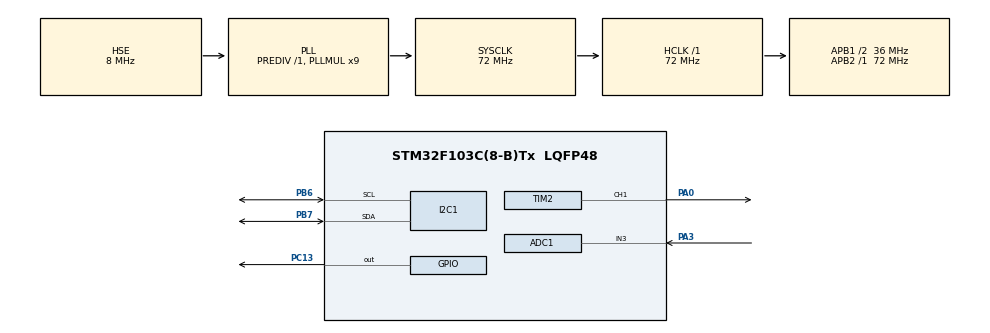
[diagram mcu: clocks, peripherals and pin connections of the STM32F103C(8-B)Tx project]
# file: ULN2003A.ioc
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ADC1.Channel-0\#ChannelRegularConversion=ADC_CHANNEL_3
ADC1.NbrOfConversionFlag=1
ADC1.Rank-0\#ChannelRegularConversion=1
ADC1.SamplingTime-0\#ChannelRegularConversion=ADC_SAMPLETIME_1CYCLE_5
ADC1.master=1
Dma.ADC1.0.Direction=DMA_PERIPH_TO_MEMORY
Dma.ADC1.0.Instance=DMA1_Channel1
Dma.ADC1.0.MemDataAlignment=DMA_MDATAALIGN_HALFWORD
Dma.ADC1.0.MemInc=DMA_MINC_ENABLE
Dma.ADC1.0.Mode=DMA_CIRCULAR
Dma.ADC1.0.PeriphDataAlignment=DMA_PDATAALIGN_HALFWORD
Dma.ADC1.0.PeriphInc=DMA_PINC_DISABLE
Dma.ADC1.0.Priority=DMA_PRIORITY_LOW
Dma.Request0=ADC1
FREERTOS.Tasks01=defaultTask,24,128,StartDefaultTask,Default,NULL,Dynamic,NULL,NULL;LihgtSenorTask,8,128,LihgtSenor_Task,Default,NULL,Static,LihgtSenorTaskBuffer,LihgtSenorTaskControlBlock;RainSenorTask,8,128,RainSenor_Task,Default,NULL,Static,RainSenorTaskBuffer,RainSenorTaskControlBlock;MotorTask,8,128,Motor_Task,Default,NULL,Static,MotorTaskBuffer,MotorTaskControlBlock;LCDTask,8,128,LCD_Task,Default,NULL,Static,LCDTaskBuffer,LCDTaskControlBlock
FREERTOS.configTIMER_TASK_STACK_DEPTH=2680
FREERTOS.configUSE_NEWLIB_REENTRANT=1
Mcu.Family=STM32F1
Mcu.Name=STM32F103C(8-B)Tx
Mcu.Package=LQFP48
NVIC.DMA1_Channel1_IRQn=true\:5\:0\:false\:false\:true\:true\:false\:true\:true
NVIC.PriorityGroup=NVIC_PRIORITYGROUP_4
NVIC.TIM3_IRQn=true\:15\:0\:false\:false\:true\:false\:false\:true\:true
NVIC.TimeBase=TIM3_IRQn
NVIC.TimeBaseIP=TIM3
PA0-WKUP.Signal=S_TIM2_CH1_ETR
PA13.Mode=Serial_Wire
PA13.Signal=SYS_JTMS-SWDIO
PA14.Mode=Serial_Wire
PA14.Signal=SYS_JTCK-SWCLK
PA3.Signal=ADCx_IN3
PB6.Mode=I2C
PB6.Signal=I2C1_SCL
PB7.Mode=I2C
PB7.Signal=I2C1_SDA
PC13-TAMPER-RTC.Signal=GPIO_Output
PD0-OSC_IN.Mode=HSE-External-Oscillator
PD0-OSC_IN.Signal=RCC_OSC_IN
PD1-OSC_OUT.Mode=HSE-External-Oscillator
PD1-OSC_OUT.Signal=RCC_OSC_OUT
ProjectManager.HeapSize=0x200
ProjectManager.StackSize=0x400
ProjectManager.TargetToolchain=STM32CubeIDE
RCC.ADCPresc=RCC_ADCPCLK2_DIV6
RCC.AHBFreq_Value=72000000
RCC.APB1CLKDivider=RCC_HCLK_DIV2
RCC.APB1Freq_Value=36000000
RCC.APB1TimFreq_Value=72000000
RCC.APB2Freq_Value=72000000
RCC.APB2TimFreq_Value=72000000
RCC.HCLKFreq_Value=72000000
RCC.PLLMUL=RCC_PLL_MUL9
RCC.PLLSourceVirtual=RCC_PLLSOURCE_HSE
RCC.SYSCLKFreq_VALUE=72000000
RCC.SYSCLKSource=RCC_SYSCLKSOURCE_PLLCLK
RCC.USBFreq_Value=48000000
RCC.USBPrescaler=RCC_USBCLKSOURCE_PLL_DIV1_5
SH.ADCx_IN3.0=ADC1_IN3,IN3
SH.S_TIM2_CH1_ETR.0=TIM2_CH1,PWM Generation1 CH1
TIM2.AutoReloadPreload=TIM_AUTORELOAD_PRELOAD_ENABLE
TIM2.Channel-PWM\ Generation1\ CH1=TIM_CHANNEL_1
VP_FREERTOS_VS_CMSIS_V2.Mode=CMSIS_V2
VP_SYS_VS_tim3.Mode=TIM3
VP_TIM2_VS_ClockSourceINT.Mode=Internal
board=custom

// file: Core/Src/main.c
/* USER CODE BEGIN Header */
/**
  ******************************************************************************
  * @file           : main.c
  * @brief          : Main program body
  ******************************************************************************
  * @attention
  *
  * Copyright (c) 2026 STMicroelectronics.
  * All rights reserved.
  *
  * This software is licensed under terms that can be found in the LICENSE file
  * in the root directory of this software component.
  * If no LICENSE file comes with this software, it is provided AS-IS.
  *
  ******************************************************************************
  */
/* USER CODE END Header */
#include "main.h"
#include "cmsis_os.h"

/* USER CODE BEGIN Includes */
#include <stdio.h>
#include <string.h>

#include "driver_key.h"
#include "driver_led.h"
#include "driver_lcd.h"
#include "driver_light_sensor.h"
#include "FreeRTOS.h"
#include "queue.h"
/* USER CODE END Includes */

typedef StaticTask_t osStaticThreadDef_t;
/* USER CODE BEGIN PTD */
typedef struct {
	uint32_t Data;
}LightSensor_Data_t;

/* USER CODE END PTD */

/* USER CODE BEGIN PD */

/* ---- 步进电机引脚映射 ----------------------------------------------
 * 2026-10-09: 原来的 PA3/PA4/PA5/PA6 中, PA4 和 PA6 被 12V 反向灌入打坏
 * (当时 GPIO 被直接接在电机相线上, 而相线连着 ULN2003 输出)。
 * 现改用 PB0/PB1/PB8/PB9, 这 4 个脚在本工程中完全空闲。
 *
 *   接线:  PB0 -> 驱动板 IN1
 *          PB1 -> 驱动板 IN2
 *          PB8 -> 驱动板 IN3
 *          PB9 -> 驱动板 IN4
 * ------------------------------------------------------------------- */
#define MOTOR_PORT     GPIOB
#define MOTOR_A_PIN    GPIO_PIN_0      /* -> ULN2003 IN1 */
#define MOTOR_B_PIN    GPIO_PIN_1      /* -> ULN2003 IN2 */
#define MOTOR_C_PIN    GPIO_PIN_8      /* -> ULN2003 IN3 */
#define MOTOR_D_PIN    GPIO_PIN_9      /* -> ULN2003 IN4 */

#define MOTOR_ALL_PINS (MOTOR_A_PIN | MOTOR_B_PIN | MOTOR_C_PIN | MOTOR_D_PIN)

/* USER CODE END PD */

/* USER CODE BEGIN PM */
/* 运行标志: 1 = 正在跑, 0 = 已停在原点. 全局, 主循环和电机延时都要用 */
volatile uint8_t g_run_flag = 0;

/* 停机请求: 1 = 按过按钮了, 这一轮跑完再停.
 *
 * 转动途中按下不立刻停机, 只把这里置 1; 等 main 里一轮 (逆180 + 顺180)
 * 走完、电机正好回到最原始的位置, 才真正断相停下。
 * 所以整轮期间只置位、不清零, 动作永远落在原点上。 */
volatile uint8_t g_stop_req = 0;

/* 断掉全部四相. 停机时用, 防电机堵转发热
 * (本轮最后停在 A|B 相, 正好是起始那一相, 也就是一个整步定位点,
 *  断电后转子不会偏, 原位就是这里) */
static void Motor_AllOff(void)
{
	HAL_GPIO_WritePin(MOTOR_PORT, MOTOR_ALL_PINS, GPIO_PIN_RESET);
}

/* 等按键松手.
 * 停机那一刻如果手还按着, 主循环的 Key_GetNum() 会立刻把这次按键当成
 * "再按一次启动", 电机刚停就又转起来。所以停机后先把这次按键放干净,
 * 这样必须重新按一次才会再次启动。 */
static void Key_WaitRelease(void)
{
	while (Key_Read() != 0)
	{
		HAL_Delay(10);
	}
}

/* 把指定的相置高, 其余三相全部关断, 然后延时.
 * 延时被切成 1ms 一小段, 每段采一次按键 —— 但只做标记, 不停。
 *
 * 这里必须用不打消抖的 Key_Read(), 不能用 Key_GetNum():
 * Key_GetNum() 里有 20ms 消抖 + 空等松手, 而这里的步进节拍只有 2ms,
 * 拿它轮询会把节拍整个卡住, 电机一顿一顿的。
 * 人手按一下至少几十毫秒, 1ms 采一次不会漏; 万一采到毛刺, 也只是提前
 * 一轮停, 不会乱动作。 */
static void Motor_Phase(uint16_t set_pins, uint16_t speed)
{
	HAL_GPIO_WritePin(MOTOR_PORT, set_pins, GPIO_PIN_SET);
	HAL_GPIO_WritePin(MOTOR_PORT, (uint16_t)(MOTOR_ALL_PINS & ~set_pins), GPIO_PIN_RESET);

	while (speed > 0)
	{
		if (g_stop_req == 0 && Key_Read() != 0)   /* 转动途中按下 -> 只记请求 */
		{
			g_stop_req = 1;
		}
		HAL_Delay(1);
		speed--;
	}
}

void Motor_one1(uint16_t speed)		//1相励磁 A-B-C-D
{
	Motor_Phase(MOTOR_A_PIN, speed);
	Motor_Phase(MOTOR_B_PIN, speed);
	Motor_Phase(MOTOR_C_PIN, speed);
	Motor_Phase(MOTOR_D_PIN, speed);
}

void Motor_two1(uint16_t speed)		//2相励磁 AB-BC-CD-DA
{
	Motor_Phase(MOTOR_A_PIN | MOTOR_B_PIN, speed);
	Motor_Phase(MOTOR_B_PIN | MOTOR_C_PIN, speed);
	Motor_Phase(MOTOR_C_PIN | MOTOR_D_PIN, speed);
	Motor_Phase(MOTOR_D_PIN | MOTOR_A_PIN, speed);
}

void Motor_one_two1(uint16_t speed)	//1-2相励磁(半步) A-AB-B-BC-C-CD-D-DA
{
	Motor_Phase(MOTOR_A_PIN, speed);
	Motor_Phase(MOTOR_A_PIN | MOTOR_B_PIN, speed);
	Motor_Phase(MOTOR_B_PIN, speed);
	Motor_Phase(MOTOR_B_PIN | MOTOR_C_PIN, speed);
	Motor_Phase(MOTOR_C_PIN, speed);
	Motor_Phase(MOTOR_C_PIN | MOTOR_D_PIN, speed);
	Motor_Phase(MOTOR_D_PIN, speed);
	Motor_Phase(MOTOR_D_PIN | MOTOR_A_PIN, speed);
}

void Motor_one2(uint16_t speed)		//1相励磁 A-B-C-D
{
	Motor_Phase(MOTOR_D_PIN, speed);
	Motor_Phase(MOTOR_C_PIN, speed);
	Motor_Phase(MOTOR_B_PIN, speed);
	Motor_Phase(MOTOR_A_PIN, speed);
}

void Motor_two2(uint16_t speed)		//2相励磁 AB-BC-CD-DA
{
	Motor_Phase(MOTOR_D_PIN | MOTOR_A_PIN, speed);
	Motor_Phase(MOTOR_C_PIN | MOTOR_D_PIN, speed);
	Motor_Phase(MOTOR_B_PIN | MOTOR_C_PIN, speed);
	Motor_Phase(MOTOR_A_PIN | MOTOR_B_PIN, speed);
}

void Motor_one_two2(uint16_t speed)	//1-2相励磁(半步) A-AB-B-BC-C-CD-D-DA
{
	Motor_Phase(MOTOR_D_PIN, speed);
	Motor_Phase(MOTOR_D_PIN | MOTOR_A_PIN, speed);
	Motor_Phase(MOTOR_C_PIN, speed);
	Motor_Phase(MOTOR_C_PIN | MOTOR_D_PIN, speed);
	Motor_Phase(MOTOR_B_PIN, speed);
	Motor_Phase(MOTOR_B_PIN | MOTOR_C_PIN, speed);
	Motor_Phase(MOTOR_A_PIN, speed);
	Motor_Phase(MOTOR_A_PIN | MOTOR_B_PIN, speed);
}

/* USER CODE END PM */

ADC_HandleTypeDef hadc1;
DMA_HandleTypeDef hdma_adc1;

I2C_HandleTypeDef hi2c1;

TIM_HandleTypeDef htim2;

/* Definitions for defaultTask */
osThreadId_t defaultTaskHandle;
const osThreadAttr_t defaultTask_attributes = {
  .name = "defaultTask",
  .stack_size = 128 * 4,
  .priority = (osPriority_t) osPriorityNormal,
};
/* Definitions for LihgtSenorTask */
osThreadId_t LihgtSenorTaskHandle;
uint32_t LihgtSenorTaskBuffer[ 128 ];
osStaticThreadDef_t LihgtSenorTaskControlBlock;
const osThreadAttr_t LihgtSenorTask_attributes = {
  .name = "LihgtSenorTask",
  .cb_mem = &LihgtSenorTaskControlBlock,
  .cb_size = sizeof(LihgtSenorTaskControlBlock),
  .stack_mem = &LihgtSenorTaskBuffer[0],
  .stack_size = sizeof(LihgtSenorTaskBuffer),
  .priority = (osPriority_t) osPriorityLow,
};
/* Definitions for RainSenorTask */
osThreadId_t RainSenorTaskHandle;
uint32_t RainSenorTaskBuffer[ 128 ];
osStaticThreadDef_t RainSenorTaskControlBlock;
const osThreadAttr_t RainSenorTask_attributes = {
  .name = "RainSenorTask",
  .cb_mem = &RainSenorTaskControlBlock,
  .cb_size = sizeof(RainSenorTaskControlBlock),
  .stack_mem = &RainSenorTaskBuffer[0],
  .stack_size = sizeof(RainSenorTaskBuffer),
  .priority = (osPriority_t) osPriorityLow,
};
/* Definitions for MotorTask */
osThreadId_t MotorTaskHandle;
uint32_t MotorTaskBuffer[ 128 ];
osStaticThreadDef_t MotorTaskControlBlock;
const osThreadAttr_t MotorTask_attributes = {
  .name = "MotorTask",
  .cb_mem = &MotorTaskControlBlock,
  .cb_size = sizeof(MotorTaskControlBlock),
  .stack_mem = &MotorTaskBuffer[0],
  .stack_size = sizeof(MotorTaskBuffer),
  .priority = (osPriority_t) osPriorityLow,
};
/* Definitions for LCDTask */
osThreadId_t LCDTaskHandle;
uint32_t LCDTaskBuffer[ 128 ];
osStaticThreadDef_t LCDTaskControlBlock;
const osThreadAttr_t LCDTask_attributes = {
  .name = "LCDTask",
  .cb_mem = &LCDTaskControlBlock,
  .cb_size = sizeof(LCDTaskControlBlock),
  .stack_mem = &LCDTaskBuffer[0],
  .stack_size = sizeof(LCDTaskBuffer),
  .priority = (osPriority_t) osPriorityLow,
};
/* USER CODE BEGIN PV */
/* 光敏值广播队列。
 * 生产端只有光敏任务, 消费端各一个: 电机任务拿去定转速, LCD 任务拿去显示。 */
QueueHandle_t Queue_Motor;
QueueHandle_t Queue_LCD;

/* USER CODE END PV */

void SystemClock_Config(void);
static void MX_GPIO_Init(void);
static void MX_DMA_Init(void);
static void MX_I2C1_Init(void);
static void MX_TIM2_Init(void);
static void MX_ADC1_Init(void);
void StartDefaultTask(void *argument);
void LihgtSenor_Task(void *argument);
void RainSenor_Task(void *argument);
void Motor_Task(void *argument);
void LCD_Task(void *argument);

/* USER CODE BEGIN 0 */

/* ---------- 一轮: 逆时针 180, 再顺时针 180 ----------
 * 两次步数一样, 方向相反, 所以一轮跑完净位移为 0,
 * 电机必定回到出发的那一相, 也就是最原始的位置。
 * 4*64 = 256 次调用 = 180 度。 */
void High_MotorSpeed()
{
	for (uint32_t i = 0; i < 2*64; i++)
	{
	  Motor_two1(1);      /* 逆时针 180 */
	}
	for (uint32_t i = 0; i < 2*64; i++)
	{
	  Motor_two2(1);      /* 顺时针 180 */
	}

}

void Middle_MotorSpeed()
{
	for (uint32_t i = 0; i < 2*64; i++)
	{
	  Motor_two1(3);      /* 逆时针 180 */
	}
	for (uint32_t i = 0; i < 2*64; i++)
	{
	  Motor_two2(3);      /* 顺时针 180 */
	}

}

void Low_MotorSpeed()
{
	for (uint32_t i = 0; i < 2*64; i++)
	{
	  Motor_two1(5);      /* 逆时针 180 */
	}
	for (uint32_t i = 0; i < 2*64; i++)
	{
	  Motor_two2(5);      /* 顺时针 180 */
	}

}

/* USER CODE END 0 */

int main(void)
{

  /* MCU Configuration--------------------------------------------------------*/

  /* Reset of all peripherals, Initializes the Flash interface and the Systick. */
  HAL_Init();

  /* Configure the system clock */
  SystemClock_Config();

  /* Initialize all configured peripherals */
  MX_GPIO_Init();
  MX_DMA_Init();
  MX_I2C1_Init();
  MX_TIM2_Init();
  MX_ADC1_Init();
  /* USER CODE BEGIN 2 */

  Key_Init();
  LCD_Init();
  LCD_Clear();

  LCD_PrintString(0, 0, "State: ");
  LCD_PrintString(0, 2, "Key: ");
  /* USER CODE END 2 */

  /* Init scheduler */
  osKernelInitialize();

  /* USER CODE BEGIN RTOS_QUEUES */
  /* add queues, ... */
  Queue_Motor = xQueueCreate(4, sizeof(LightSensor_Data_t));
  Queue_LCD   = xQueueCreate(4, sizeof(LightSensor_Data_t));
  /* USER CODE END RTOS_QUEUES */

  /* Create the thread(s) */
  /* creation of defaultTask */
  defaultTaskHandle = osThreadNew(StartDefaultTask, NULL, &defaultTask_attributes);

  /* creation of LihgtSenorTask */
  LihgtSenorTaskHandle = osThreadNew(LihgtSenor_Task, NULL, &LihgtSenorTask_attributes);

  /* creation of RainSenorTask */
  RainSenorTaskHandle = osThreadNew(RainSenor_Task, NULL, &RainSenorTask_attributes);

  /* creation of MotorTask */
  MotorTaskHandle = osThreadNew(Motor_Task, NULL, &MotorTask_attributes);

  /* creation of LCDTask */
  LCDTaskHandle = osThreadNew(LCD_Task, NULL, &LCDTask_attributes);

  /* Start scheduler */
  osKernelStart();

  /* We should never get here as control is now taken by the scheduler */

  /* Infinite loop */
  while (1)
  {
  }

  }
}

void SystemClock_Config(void)
{
  RCC_OscInitTypeDef RCC_OscInitStruct = {0};
  RCC_ClkInitTypeDef RCC_ClkInitStruct = {0};
  RCC_PeriphCLKInitTypeDef PeriphClkInit = {0};

  /** Initializes the RCC Oscillators according to the specified parameters
  * in the RCC_OscInitTypeDef structure.
  */
  RCC_OscInitStruct.OscillatorType = RCC_OSCILLATORTYPE_HSE;
  RCC_OscInitStruct.HSEState = RCC_HSE_ON;
  RCC_OscInitStruct.HSEPredivValue = RCC_HSE_PREDIV_DIV1;
  RCC_OscInitStruct.HSIState = RCC_HSI_ON;
  RCC_OscInitStruct.PLL.PLLState = RCC_PLL_ON;
  RCC_OscInitStruct.PLL.PLLSource = RCC_PLLSOURCE_HSE;
  RCC_OscInitStruct.PLL.PLLMUL = RCC_PLL_MUL9;
  if (HAL_RCC_OscConfig(&RCC_OscInitStruct) != HAL_OK)
  {
    Error_Handler();
  }

  /** Initializes the CPU, AHB and APB buses clocks
  */
  RCC_ClkInitStruct.ClockType = RCC_CLOCKTYPE_HCLK|RCC_CLOCKTYPE_SYSCLK
                              |RCC_CLOCKTYPE_PCLK1|RCC_CLOCKTYPE_PCLK2;
  RCC_ClkInitStruct.SYSCLKSource = RCC_SYSCLKSOURCE_PLLCLK;
  RCC_ClkInitStruct.AHBCLKDivider = RCC_SYSCLK_DIV1;
  RCC_ClkInitStruct.APB1CLKDivider = RCC_HCLK_DIV2;
  RCC_ClkInitStruct.APB2CLKDivider = RCC_HCLK_DIV1;

  if (HAL_RCC_ClockConfig(&RCC_ClkInitStruct, FLASH_LATENCY_2) != HAL_OK)
  {
    Error_Handler();
  }
  PeriphClkInit.PeriphClockSelection = RCC_PERIPHCLK_ADC;
  PeriphClkInit.AdcClockSelection = RCC_ADCPCLK2_DIV6;
  if (HAL_RCCEx_PeriphCLKConfig(&PeriphClkInit) != HAL_OK)
  {
    Error_Handler();
  }
}

static void MX_ADC1_Init(void)
{

  ADC_ChannelConfTypeDef sConfig = {0};

  /** Common config
  */
  hadc1.Instance = ADC1;
  hadc1.Init.ScanConvMode = ADC_SCAN_DISABLE;
  hadc1.Init.ContinuousConvMode = DISABLE;
  hadc1.Init.DiscontinuousConvMode = DISABLE;
  hadc1.Init.ExternalTrigConv = ADC_SOFTWARE_START;
  hadc1.Init.DataAlign = ADC_DATAALIGN_RIGHT;
  hadc1.Init.NbrOfConversion = 1;
  if (HAL_ADC_Init(&hadc1) != HAL_OK)
  {
    Error_Handler();
  }

  /** Configure Regular Channel
  */
  sConfig.Channel = ADC_CHANNEL_3;
  sConfig.Rank = ADC_REGULAR_RANK_1;
  sConfig.SamplingTime = ADC_SAMPLETIME_1CYCLE_5;
  if (HAL_ADC_ConfigChannel(&hadc1, &sConfig) != HAL_OK)
  {
    Error_Handler();
  }

}

static void MX_I2C1_Init(void)
{

  hi2c1.Instance = I2C1;
  hi2c1.Init.ClockSpeed = 100000;
  hi2c1.Init.DutyCycle = I2C_DUTYCYCLE_2;
  hi2c1.Init.OwnAddress1 = 0;
  hi2c1.Init.AddressingMode = I2C_ADDRESSINGMODE_7BIT;
  hi2c1.Init.DualAddressMode = I2C_DUALADDRESS_DISABLE;
  hi2c1.Init.OwnAddress2 = 0;
  hi2c1.Init.GeneralCallMode = I2C_GENERALCALL_DISABLE;
  hi2c1.Init.NoStretchMode = I2C_NOSTRETCH_DISABLE;
  if (HAL_I2C_Init(&hi2c1) != HAL_OK)
  {
    Error_Handler();
  }

}

static void MX_TIM2_Init(void)
{

  TIM_ClockConfigTypeDef sClockSourceConfig = {0};
  TIM_MasterConfigTypeDef sMasterConfig = {0};
  TIM_OC_InitTypeDef sConfigOC = {0};

  htim2.Instance = TIM2;
  htim2.Init.Prescaler = 0;
  htim2.Init.CounterMode = TIM_COUNTERMODE_UP;
  htim2.Init.Period = 65535;
  htim2.Init.ClockDivision = TIM_CLOCKDIVISION_DIV1;
  htim2.Init.AutoReloadPreload = TIM_AUTORELOAD_PRELOAD_ENABLE;
  if (HAL_TIM_Base_Init(&htim2) != HAL_OK)
  {
    Error_Handler();
  }
  sClockSourceConfig.ClockSource = TIM_CLOCKSOURCE_INTERNAL;
  if (HAL_TIM_ConfigClockSource(&htim2, &sClockSourceConfig) != HAL_OK)
  {
    Error_Handler();
  }
  if (HAL_TIM_PWM_Init(&htim2) != HAL_OK)
  {
    Error_Handler();
  }
  sMasterConfig.MasterOutputTrigger = TIM_TRGO_RESET;
  sMasterConfig.MasterSlaveMode = TIM_MASTERSLAVEMODE_DISABLE;
  if (HAL_TIMEx_MasterConfigSynchronization(&htim2, &sMasterConfig) != HAL_OK)
  {
    Error_Handler();
  }
  sConfigOC.OCMode = TIM_OCMODE_PWM1;
  sConfigOC.Pulse = 0;
  sConfigOC.OCPolarity = TIM_OCPOLARITY_HIGH;
  sConfigOC.OCFastMode = TIM_OCFAST_DISABLE;
  if (HAL_TIM_PWM_ConfigChannel(&htim2, &sConfigOC, TIM_CHANNEL_1) != HAL_OK)
  {
    Error_Handler();
  }
  HAL_TIM_MspPostInit(&htim2);

}

static void MX_DMA_Init(void)
{

  /* DMA controller clock enable */
  __HAL_RCC_DMA1_CLK_ENABLE();

  /* DMA interrupt init */
  /* DMA1_Channel1_IRQn interrupt configuration */
  HAL_NVIC_SetPriority(DMA1_Channel1_IRQn, 5, 0);
  HAL_NVIC_EnableIRQ(DMA1_Channel1_IRQn);

}

static void MX_GPIO_Init(void)
{
  GPIO_InitTypeDef GPIO_InitStruct = {0};

  /* GPIO Ports Clock Enable */
  __HAL_RCC_GPIOC_CLK_ENABLE();
  __HAL_RCC_GPIOD_CLK_ENABLE();
  __HAL_RCC_GPIOA_CLK_ENABLE();
  __HAL_RCC_GPIOB_CLK_ENABLE();

  /*Configure GPIO pin Output Level */
  HAL_GPIO_WritePin(GPIOC, GPIO_PIN_13, GPIO_PIN_RESET);

  /*Configure GPIO pin : PC13 */
  GPIO_InitStruct.Pin = GPIO_PIN_13;
  GPIO_InitStruct.Mode = GPIO_MODE_OUTPUT_PP;
  GPIO_InitStruct.Pull = GPIO_NOPULL;
  GPIO_InitStruct.Speed = GPIO_SPEED_FREQ_LOW;
  HAL_GPIO_Init(GPIOC, &GPIO_InitStruct);

  /* USER CODE BEGIN MX_GPIO_Init_2 */

  /* 步进电机 4 相输出脚 PB0/PB1/PB8/PB9.
   * 放在 USER CODE 块里, 这样以后用 CubeMX 重新生成代码也不会被覆盖。
   * (GPIOB 的时钟在上面已经使能了) */
  HAL_GPIO_WritePin(MOTOR_PORT, MOTOR_ALL_PINS, GPIO_PIN_RESET);

  GPIO_InitStruct.Pin   = MOTOR_ALL_PINS;
  GPIO_InitStruct.Mode  = GPIO_MODE_OUTPUT_PP;
  GPIO_InitStruct.Pull  = GPIO_NOPULL;
  GPIO_InitStruct.Speed = GPIO_SPEED_FREQ_LOW;
  HAL_GPIO_Init(MOTOR_PORT, &GPIO_InitStruct);

  /* USER CODE END MX_GPIO_Init_2 */
}

void StartDefaultTask(void *argument)
{
  for(;;)
  {
    osDelay(1);
  }
}

void LihgtSenor_Task(void *argument)
{
  /* USER CODE BEGIN LihgtSenor_Task */
  LightSensor_Data_t data;
  uint32_t val;

  LightSensor_Init();          /* ADC 校准, 只做一次 */

  for(;;)
  {
    if (LightSensor_Read(&val) == 0)     /* 返回 0 = 成功 */
    {
      data.Data = val;

      /* 同一份数据发给两个消费者: 电机任务拿去定转速, LCD 任务拿去显示。
       * 超时给 0 (完全不等待): 采光是周期性的, 消费端慢了就把这一帧丢掉,
       * 绝不能在这里阻塞 —— 只要有一个消费者卡住, 阻塞就会把采光整个拖死。
       * 丢帧在这里是安全的: 光敏值本来就有噪声, 而且 100ms 后就是新的一帧。 */
      xQueueSend(Queue_Motor, &data, 0);
      xQueueSend(Queue_LCD,   &data, 0);
    }

    osDelay(100);              /* 100ms 采一帧, 10Hz 足够看清光照变化 */
  }
  /* USER CODE END LihgtSenor_Task */
}

void RainSenor_Task(void *argument)
{
  for(;;)
  {
    osDelay(1);
  }
}

void Motor_Task(void *argument)
{
  /* USER CODE BEGIN Motor_Task */
  /* Infinite loop */
  for(;;)
  {
	  if (g_run_flag == 1)
	 	  {

	 		  LCD_PrintStringClean(7, 0, "Start", &S_len);
	 		  LCD_PrintStringClean(5, 2, "ON", &K_len);

	 		  High_MotorSpeed();
	 		  Middle_MotorSpeed();
	 		  Low_MotorSpeed();

	 		  /* 一轮走完, 人已经在原点上, 这时候才处理停机请求 */
	 		  if (g_stop_req == 1)
	 		  {
	 			  LCD_PrintStringClean(7, 0, "Stop", &S_len);
	 			  LCD_PrintStringClean(5, 2, "OFF", &K_len);
	 			  Motor_AllOff();
	 			  g_run_flag = 0;
	 			  g_stop_req = 0;
	 			  Key_WaitRelease();   /* 把停机那次按键放干净, 免得它被当成启动 */
	 		  }
	 	  }
	 	  else
	 	  {
	 		  LCD_PrintStringClean(7, 0, "Stop", &S_len);
	 		  LCD_PrintStringClean(5, 2, "OFF", &K_len);

	 		  /* 停着的时候用 Key_GetNum(): 这里有 20ms 消抖并等松手,
	 		   * 一个干净的"按一下"才会启动, 不会因为抖动反复启停 */
	 		  if (Key_GetNum() == 1)
	 		  {
	 			  g_run_flag = 1;
	 		  }
	 	  }
    osDelay(1);
  }
  /* USER CODE END Motor_Task */
}

void LCD_Task(void *argument)
{
  /* USER CODE BEGIN LCD_Task */
	uint8_t S_len = 0;
	uint8_t K_len = 0;

	LCD_Init();
	LCD_Clear();
  /* Infinite loop */
  for(;;)
  {
    osDelay(1);
  }
  /* USER CODE END LCD_Task */
}

void HAL_TIM_PeriodElapsedCallback(TIM_HandleTypeDef *htim)
{
  if (htim->Instance == TIM3)
  {
    HAL_IncTick();
  }
}

void Error_Handler(void)
{
  __disable_irq();
  while (1)
  {
  }
}
